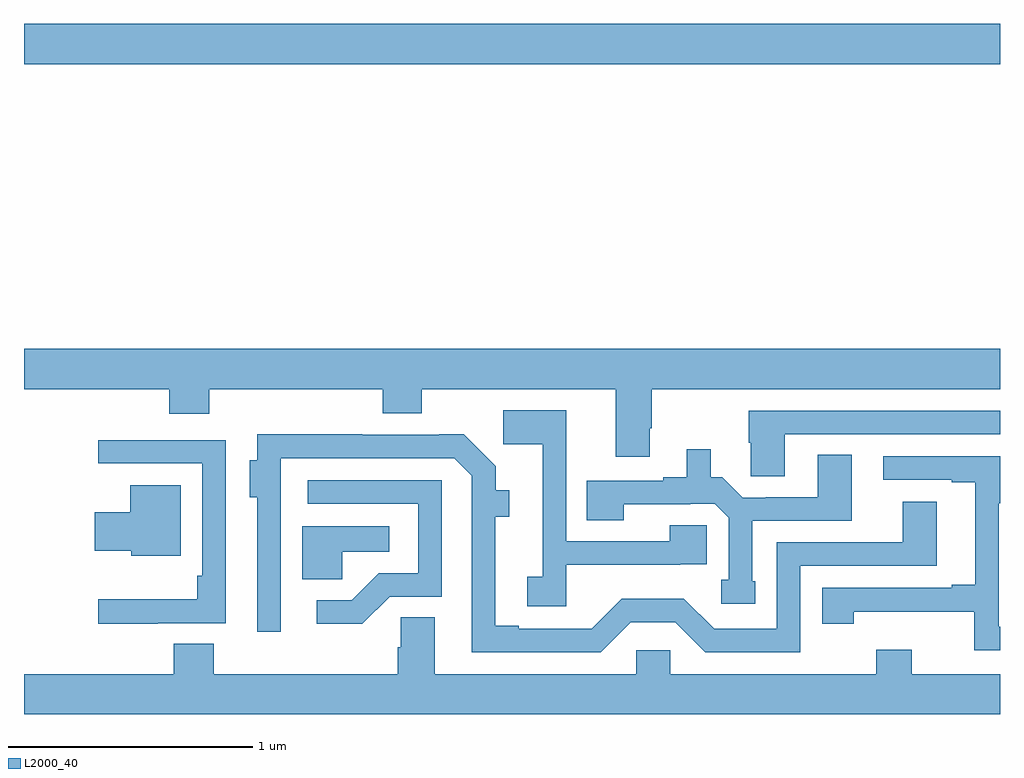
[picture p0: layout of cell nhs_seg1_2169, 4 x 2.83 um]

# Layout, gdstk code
import gdstk
lib = gdstk.Library(unit=1e-6, precision=1e-09)
def R(c, l, rs):  # rectangles x0, y0, x1, y1
    for r in rs: c.add(gdstk.rectangle(r[:2], r[2:], *l))
def P(c, l, *ps):  # polygons
    for p in ps: c.add(gdstk.Polygon(p, *l))
L2000_40 = (2000, 40)

nhs_seg1_2169 = lib.new_cell('nhs_seg1_2169')
R(nhs_seg1_2169, L2000_40, [(229,529.088,233,529.252)])
P(nhs_seg1_2169, L2000_40, [(231.565,527.596),(231.573,527.596),(231.573,527.756),(233,527.756),(233,527.92),(229,527.92),(229,527.756),(229.595,527.756),(229.595,527.654),(229.76,527.654),(229.76,527.756),(230.471,527.756),(230.471,527.657),(230.631,527.657),(230.631,527.756),(231.425,527.756),(231.425,527.478),(231.565,527.478)],
  [(231.222,527.036),(231.689,527.036),(231.689,527.037),(231.799,527.037),(231.799,527.198),(231.646,527.198),(231.646,527.133),(231.222,527.133),(231.222,527.668),(230.964,527.668),(230.964,527.529),(231.125,527.529),(231.125,526.986),(231.063,526.986),(231.063,526.866),(231.222,526.866)],
  [(232.117,527.571),(233,527.571),(233,527.667),(231.97,527.667),(231.97,527.535),(231.979,527.535),(231.979,527.398),(232.117,527.398)],
  [(231.486,526.8),(231.669,526.8),(231.792,526.677),(232.182,526.677),(232.182,527.031),(232.741,527.031),(232.741,527.293),(232.601,527.293),(232.601,527.127),(232.086,527.127),(232.086,526.773),(231.828,526.773),(231.704,526.897),(231.45,526.897),(231.326,526.773),(231.028,526.773),(231.028,526.786),(230.932,526.786),(230.932,527.232),(230.989,527.232),(230.989,527.342),(230.933,527.342),(230.933,527.44),(230.803,527.57),(230.702,527.57),(230.702,527.568),(230.387,527.568),(230.387,527.57),(229.956,527.57),(229.956,527.464),(229.925,527.464),(229.925,527.312),(229.956,527.312),(229.956,526.761),(230.052,526.761),(230.052,527.472),(230.763,527.472),(230.835,527.4),(230.835,526.677),(231.363,526.677)],
  [(229.549,526.797),(229.827,526.797),(229.827,527.547),(229.305,527.547),(229.305,527.451),(229.731,527.451),(229.731,526.99),(229.711,526.99),(229.711,526.894),(229.305,526.894),(229.305,526.793),(229.549,526.793)],
  [(231.997,526.968),(231.984,526.968),(231.984,527.217),(232.393,527.217),(232.393,527.486),(232.253,527.486),(232.253,527.313),(232.039,527.313),(232.039,527.31),(231.945,527.31),(231.861,527.394),(231.814,527.394),(231.814,527.509),(231.716,527.509),(231.716,527.394),(231.62,527.394),(231.62,527.379),(231.307,527.379),(231.307,527.218),(231.459,527.218),(231.459,527.283),(231.731,527.283),(231.731,527.286),(231.831,527.286),(231.888,527.229),(231.888,526.974),(231.858,526.974),(231.858,526.875),(231.997,526.875)],
  [(233,526.782),(232.995,526.782),(232.995,527.288),(233,527.288),(233,527.481),(232.521,527.481),(232.521,527.385),(232.802,527.385),(232.802,527.373),(232.898,527.373),(232.898,526.954),(232.802,526.954),(232.802,526.941),(232.272,526.941),(232.272,526.794),(232.4,526.794),(232.4,526.844),(232.894,526.844),(232.894,526.686),(233,526.686)],
  [(230.499,526.905),(230.712,526.905),(230.712,527.382),(230.163,527.382),(230.163,527.286),(230.616,527.286),(230.616,527.001),(230.454,527.001),(230.343,526.89),(230.199,526.89),(230.199,526.793),(230.386,526.793)],
  [(229.642,527.362),(229.436,527.362),(229.436,527.251),(229.29,527.251),(229.29,527.093),(229.44,527.093),(229.44,527.072),(229.642,527.072)],
  [(230.305,527.09),(230.497,527.09),(230.497,527.194),(230.141,527.194),(230.141,526.976),(230.305,526.976)],
  [(233,526.588),(232.639,526.588),(232.639,526.687),(232.492,526.687),(232.492,526.588),(231.648,526.588),(231.648,526.686),(231.51,526.686),(231.51,526.588),(230.683,526.588),(230.683,526.82),(230.544,526.82),(230.544,526.697),(230.531,526.697),(230.531,526.588),(229.778,526.588),(229.778,526.712),(229.613,526.712),(229.613,526.588),(229,526.588),(229,526.424),(233,526.424)])

lib.write_gds('nhs_seg1_2169.gds')
